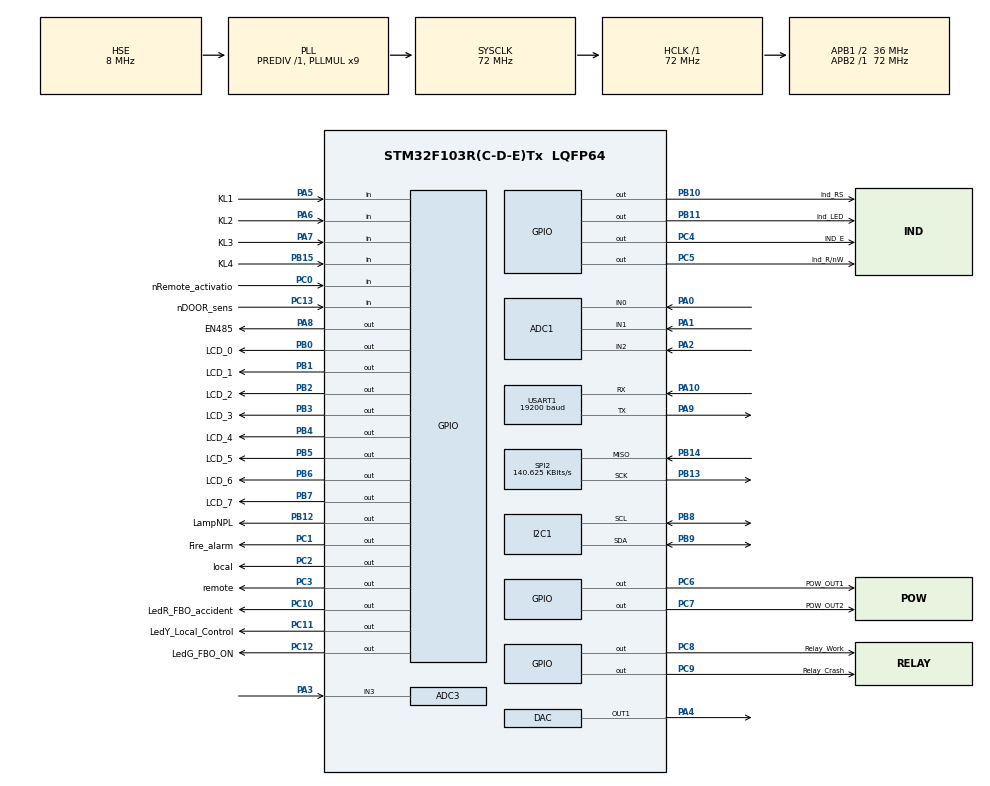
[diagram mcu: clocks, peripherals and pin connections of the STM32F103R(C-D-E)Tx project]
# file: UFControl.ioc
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ADC1.Channel-0\#ChannelRegularConversion=ADC_CHANNEL_2
ADC1.Channel-1\#ChannelRegularConversion=ADC_CHANNEL_1
ADC1.ContinuousConvMode=DISABLE
ADC1.ExternalTrigConv=ADC_EXTERNALTRIGCONV_T8_TRGO
ADC1.NbrOfConversion=2
ADC1.NbrOfConversionFlag=1
ADC1.Rank-0\#ChannelRegularConversion=1
ADC1.Rank-1\#ChannelRegularConversion=2
ADC1.SamplingTime-0\#ChannelRegularConversion=ADC_SAMPLETIME_239CYCLES_5
ADC1.SamplingTime-1\#ChannelRegularConversion=ADC_SAMPLETIME_239CYCLES_5
ADC1.master=1
ADC3.Channel-0\#ChannelRegularConversion=ADC_CHANNEL_3
ADC3.ContinuousConvMode=ENABLE
ADC3.EnableAnalogWatchDog=false
ADC3.NbrOfConversion=1
ADC3.NbrOfConversionFlag=1
ADC3.Rank-0\#ChannelRegularConversion=1
ADC3.SamplingTime-0\#ChannelRegularConversion=ADC_SAMPLETIME_28CYCLES_5
DAC.DAC_Trigger=DAC_TRIGGER_NONE
Dma.ADC1.2.Direction=DMA_PERIPH_TO_MEMORY
Dma.ADC1.2.Instance=DMA1_Channel1
Dma.ADC1.2.MemDataAlignment=DMA_MDATAALIGN_HALFWORD
Dma.ADC1.2.MemInc=DMA_MINC_ENABLE
Dma.ADC1.2.Mode=DMA_NORMAL
Dma.ADC1.2.PeriphDataAlignment=DMA_PDATAALIGN_HALFWORD
Dma.ADC1.2.PeriphInc=DMA_PINC_DISABLE
Dma.ADC1.2.Priority=DMA_PRIORITY_LOW
Dma.ADC3.1.Direction=DMA_PERIPH_TO_MEMORY
Dma.ADC3.1.Instance=DMA2_Channel5
Dma.ADC3.1.MemDataAlignment=DMA_MDATAALIGN_HALFWORD
Dma.ADC3.1.MemInc=DMA_MINC_ENABLE
Dma.ADC3.1.Mode=DMA_NORMAL
Dma.ADC3.1.PeriphDataAlignment=DMA_PDATAALIGN_HALFWORD
Dma.ADC3.1.PeriphInc=DMA_PINC_DISABLE
Dma.ADC3.1.Priority=DMA_PRIORITY_LOW
Dma.Request0=SPI2_RX
Dma.Request1=ADC3
Dma.Request2=ADC1
Dma.SPI2_RX.0.Direction=DMA_PERIPH_TO_MEMORY
Dma.SPI2_RX.0.Instance=DMA1_Channel4
Dma.SPI2_RX.0.MemDataAlignment=DMA_MDATAALIGN_BYTE
Dma.SPI2_RX.0.MemInc=DMA_MINC_ENABLE
Dma.SPI2_RX.0.Mode=DMA_NORMAL
Dma.SPI2_RX.0.PeriphDataAlignment=DMA_PDATAALIGN_BYTE
Dma.SPI2_RX.0.PeriphInc=DMA_PINC_DISABLE
Dma.SPI2_RX.0.Priority=DMA_PRIORITY_LOW
FREERTOS.Events01=TimersEvent,Static,TimersEventControlBlock;DIN_DOUT_EVENT,Static,DIN_DOUT_EVENTControlBlock;xOSEvent,Static,myEvent03ControlBlock;xUARTEvnet,Static,myEvent04ControlBlock;SystemUpdateEvent,Static,SystemUpdateEventControlBlock
FREERTOS.Tasks01=defaultTask,24,128,StartDefaultTask,Default,NULL,Dynamic,NULL,NULL;LCD,32,128,LCD_Task,As external,NULL,Static,LCDBuffer,LCDControlBlock;DIN_DOUT_Task,8,128,StartDIN_DOUT,As external,NULL,Static,DIN_DOUT_TaskBuffer,DIN_DOUT_TaskControlBlock;KeyboardTask,8,128,vKeyboardTask,As external,NULL,Static,KeyboardTaskBuffer,KeyboardTaskControlBlock;LAP_task,8,128,LAMPstart,As external,NULL,Static,LAP_taskBuffer,LAP_taskControlBlock;mbTask,8,200,StartMb,As external,NULL,Static,mbTaskBuffer,mbTaskControlBlock;ControlTask,16,128,StartControlTask,As external,NULL,Static,mainControlTaskBuffer,mainControlTaskControlBlock;UARTTask,8,200,StartUARTTask,As external,NULL,Static,UARTTaskBuffer,UARTTaskControlBlock;MenuTask,24,256,StartMenuTask,As external,NULL,Static,MenuTaskBuffer,MenuTaskControlBlock
FREERTOS.configUSE_NEWLIB_REENTRANT=1
I2C1.I2C_Mode=I2C_Fast
IWDG.Prescaler=IWDG_PRESCALER_64
Mcu.Family=STM32F1
Mcu.Name=STM32F103R(C-D-E)Tx
Mcu.Package=LQFP64
NVIC.DMA1_Channel1_IRQn=true\:5\:0\:false\:false\:true\:true\:false\:true\:true
NVIC.DMA1_Channel4_IRQn=true\:5\:0\:false\:false\:true\:true\:false\:true\:true
NVIC.DMA2_Channel4_5_IRQn=true\:5\:0\:false\:false\:true\:true\:false\:true\:true
NVIC.PriorityGroup=NVIC_PRIORITYGROUP_4
NVIC.RTC_IRQn=true\:5\:0\:false\:false\:true\:true\:true\:true\:true
NVIC.TIM1_UP_IRQn=true\:15\:0\:false\:false\:true\:false\:false\:true\:true
NVIC.TIM2_IRQn=true\:5\:0\:false\:false\:true\:true\:true\:true\:true
NVIC.TIM7_IRQn=true\:5\:0\:false\:false\:true\:true\:true\:true\:true
NVIC.TimeBase=TIM1_UP_IRQn
NVIC.TimeBaseIP=TIM1
NVIC.USART1_IRQn=true\:5\:0\:false\:false\:true\:true\:true\:true\:true
PA0-WKUP.Signal=ADCx_IN0
PA1.Signal=ADCx_IN1
PA10.Mode=Asynchronous
PA10.Signal=USART1_RX
PA13.Mode=Serial_Wire
PA13.Signal=SYS_JTMS-SWDIO
PA14.Mode=Serial_Wire
PA14.Signal=SYS_JTCK-SWCLK
PA2.Signal=ADCx_IN2
PA3.Signal=ADCx_IN3
PA4.Signal=COMP_DAC1_group
PA5.GPIO_Label=KL1
PA5.Signal=GPIO_Input
PA6.GPIO_Label=KL2
PA6.Signal=GPIO_Input
PA7.GPIO_Label=KL3
PA7.Signal=GPIO_Input
PA8.GPIO_Label=EN485
PA8.Signal=GPIO_Output
PA9.Mode=Asynchronous
PA9.Signal=USART1_TX
PB0.GPIO_Label=LCD_0
PB0.Signal=GPIO_Output
PB1.GPIO_Label=LCD_1
PB1.Signal=GPIO_Output
PB10.GPIO_Label=Ind_RS
PB10.Signal=GPIO_Output
PB11.GPIO_Label=Ind_LED
PB11.Signal=GPIO_Output
PB12.GPIO_Label=LampNPL
PB12.Signal=GPIO_Output
PB13.Mode=RX_Only_Simplex_Unidirect_Master
PB13.Signal=SPI2_SCK
PB14.Mode=RX_Only_Simplex_Unidirect_Master
PB14.Signal=SPI2_MISO
PB15.GPIO_Label=KL4
PB15.Signal=GPIO_Input
PB2.GPIO_Label=LCD_2
PB2.Signal=GPIO_Output
PB3.GPIO_Label=LCD_3
PB3.Signal=GPIO_Output
PB4.GPIO_Label=LCD_4
PB4.Signal=GPIO_Output
PB5.GPIO_Label=LCD_5
PB5.Signal=GPIO_Output
PB6.GPIO_Label=LCD_6
PB6.Signal=GPIO_Output
PB7.GPIO_Label=LCD_7
PB7.Signal=GPIO_Output
PB8.Mode=I2C
PB8.Signal=I2C1_SCL
PB9.Mode=I2C
PB9.Signal=I2C1_SDA
PC0.GPIO_Label=nRemote_activatio
PC0.Signal=GPIO_Input
PC1.GPIO_Label=Fire_alarm
PC1.Signal=GPIO_Output
PC10.GPIO_Label=LedR_FBO_accident
PC10.Signal=GPIO_Output
PC11.GPIO_Label=LedY_Local_Control
PC11.Signal=GPIO_Output
PC12.GPIO_Label=LedG_FBO_ON
PC12.Signal=GPIO_Output
PC13-TAMPER-RTC.GPIO_Label=nDOOR_sens
PC13-TAMPER-RTC.Signal=GPIO_Input
PC14-OSC32_IN.Mode=LSE-External-Oscillator
PC14-OSC32_IN.Signal=RCC_OSC32_IN
PC15-OSC32_OUT.Mode=LSE-External-Oscillator
PC15-OSC32_OUT.Signal=RCC_OSC32_OUT
PC2.GPIO_Label=local
PC2.Signal=GPIO_Output
PC3.GPIO_Label=remote
PC3.Signal=GPIO_Output
PC4.GPIO_Label=IND_E
PC4.Signal=GPIO_Output
PC5.GPIO_Label=Ind_R/nW
PC5.Signal=GPIO_Output
PC6.GPIO_Label=POW_OUT1
PC6.Signal=GPIO_Output
PC7.GPIO_Label=POW_OUT2
PC7.Signal=GPIO_Output
PC8.GPIO_Label=Relay_Work
PC8.Signal=GPIO_Output
PC9.GPIO_Label=Relay_Crash
PC9.Signal=GPIO_Output
PD0-OSC_IN.Mode=HSE-External-Oscillator
PD0-OSC_IN.Signal=RCC_OSC_IN
PD1-OSC_OUT.Mode=HSE-External-Oscillator
PD1-OSC_OUT.Signal=RCC_OSC_OUT
ProjectManager.HeapSize=0x200
ProjectManager.StackSize=0x400
ProjectManager.TargetToolchain=STM32CubeIDE
RCC.ADCPresc=RCC_ADCPCLK2_DIV6
RCC.AHBFreq_Value=72000000
RCC.APB1CLKDivider=RCC_HCLK_DIV2
RCC.APB1Freq_Value=36000000
RCC.APB1TimFreq_Value=72000000
RCC.APB2Freq_Value=72000000
RCC.APB2TimFreq_Value=72000000
RCC.HCLKFreq_Value=72000000
RCC.PLLMUL=RCC_PLL_MUL9
RCC.PLLSourceVirtual=RCC_PLLSOURCE_HSE
RCC.RTCClockSelection=RCC_RTCCLKSOURCE_LSE
RCC.SYSCLKFreq_VALUE=72000000
RCC.SYSCLKSource=RCC_SYSCLKSOURCE_PLLCLK
RCC.USBFreq_Value=72000000
RTC.Format=RTC_FORMAT_BCD
RTC.OutPut=RTC_OUTPUTSOURCE_NONE
SH.ADCx_IN0.0=ADC1_IN0,IN0
SH.ADCx_IN1.0=ADC1_IN1,IN1
SH.ADCx_IN2.0=ADC1_IN2,IN2
SH.ADCx_IN3.0=ADC3_IN3,IN3
SH.COMP_DAC1_group.0=DAC_OUT1,DAC_OUT1
SPI2.BaudRatePrescaler=SPI_BAUDRATEPRESCALER_256
SPI2.CLKPhase=SPI_PHASE_1EDGE
SPI2.CLKPolarity=SPI_POLARITY_LOW
SPI2.CalculateBaudRate=140.625 KBits/s
SPI2.Direction=SPI_DIRECTION_2LINES_RXONLY
SPI2.Mode=SPI_MODE_MASTER
SPI2.VirtualType=VM_MASTER
TIM2.Period=1000
TIM2.Prescaler=3672
TIM2.TIM_MasterOutputTrigger=TIM_TRGO_UPDATE
TIM6.Period=100
TIM6.Prescaler=72
TIM7.Period=40
TIM7.Prescaler=72
TIM8.AutoReloadPreload=TIM_AUTORELOAD_PRELOAD_DISABLE
TIM8.ClockDivision=TIM_CLOCKDIVISION_DIV1
TIM8.Period=25
TIM8.Prescaler=37
TIM8.TIM_MasterOutputTrigger=TIM_TRGO_UPDATE
USART1.BaudRate=19200
USART1.Parity=PARITY_ODD
USART1.VirtualMode=VM_ASYNC
USART1.WordLength=WORDLENGTH_9B
VP_FREERTOS_VS_CMSIS_V2.Mode=CMSIS_V2
VP_IWDG_VS_IWDG.Mode=IWDG_Activate
VP_RTC_No_RTC_Output.Mode=RTC_OUT_NO
VP_RTC_VS_RTC_Activate.Mode=RTC_Enabled
VP_RTC_VS_RTC_Calendar.Mode=RTC_Calendar
VP_SYS_VS_tim1.Mode=TIM1
VP_TIM2_VS_ClockSourceINT.Mode=Internal
VP_TIM6_VS_ClockSourceINT.Mode=Enable_Timer
VP_TIM7_VS_ClockSourceINT.Mode=Enable_Timer
VP_TIM8_VS_ClockSourceINT.Mode=Internal
board=custom

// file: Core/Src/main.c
/* USER CODE BEGIN Header */
/**
  ******************************************************************************
  * @file           : main.c
  * @brief          : Main program body
  ******************************************************************************
  * @attention
  *
  * Copyright (c) 2023 STMicroelectronics.
  * All rights reserved.
  *
  * This software is licensed under terms that can be found in the LICENSE file
  * in the root directory of this software component.
  * If no LICENSE file comes with this software, it is provided AS-IS.
  *
  ******************************************************************************
  */
/* USER CODE END Header */
#include "main.h"
#include "cmsis_os.h"

typedef StaticTask_t osStaticThreadDef_t;
typedef StaticEventGroup_t osStaticEventGroupDef_t;

/* USER CODE BEGIN PD */
#define MKL_2
#define  WDT_ENABEL
/* USER CODE END PD */

ADC_HandleTypeDef hadc1;
ADC_HandleTypeDef hadc3;
DMA_HandleTypeDef hdma_adc1;
DMA_HandleTypeDef hdma_adc3;

DAC_HandleTypeDef hdac;

I2C_HandleTypeDef hi2c1;

IWDG_HandleTypeDef hiwdg;

RTC_HandleTypeDef hrtc;

SPI_HandleTypeDef hspi2;
DMA_HandleTypeDef hdma_spi2_rx;

TIM_HandleTypeDef htim2;
TIM_HandleTypeDef htim6;
TIM_HandleTypeDef htim7;
TIM_HandleTypeDef htim8;

UART_HandleTypeDef huart1;

/* Definitions for defaultTask */
osThreadId_t defaultTaskHandle;
const osThreadAttr_t defaultTask_attributes = {
  .name = "defaultTask",
  .stack_size = 128 * 4,
  .priority = (osPriority_t) osPriorityNormal,
};
/* Definitions for LCD */
osThreadId_t LCDHandle;
uint32_t LCDBuffer[ 128 ];
osStaticThreadDef_t LCDControlBlock;
const osThreadAttr_t LCD_attributes = {
  .name = "LCD",
  .cb_mem = &LCDControlBlock,
  .cb_size = sizeof(LCDControlBlock),
  .stack_mem = &LCDBuffer[0],
  .stack_size = sizeof(LCDBuffer),
  .priority = (osPriority_t) osPriorityAboveNormal,
};
/* Definitions for DIN_DOUT_Task */
osThreadId_t DIN_DOUT_TaskHandle;
uint32_t DIN_DOUT_TaskBuffer[ 128 ];
osStaticThreadDef_t DIN_DOUT_TaskControlBlock;
const osThreadAttr_t DIN_DOUT_Task_attributes = {
  .name = "DIN_DOUT_Task",
  .cb_mem = &DIN_DOUT_TaskControlBlock,
  .cb_size = sizeof(DIN_DOUT_TaskControlBlock),
  .stack_mem = &DIN_DOUT_TaskBuffer[0],
  .stack_size = sizeof(DIN_DOUT_TaskBuffer),
  .priority = (osPriority_t) osPriorityLow,
};
/* Definitions for KeyboardTask */
osThreadId_t KeyboardTaskHandle;
uint32_t KeyboardTaskBuffer[ 128 ];
osStaticThreadDef_t KeyboardTaskControlBlock;
const osThreadAttr_t KeyboardTask_attributes = {
  .name = "KeyboardTask",
  .cb_mem = &KeyboardTaskControlBlock,
  .cb_size = sizeof(KeyboardTaskControlBlock),
  .stack_mem = &KeyboardTaskBuffer[0],
  .stack_size = sizeof(KeyboardTaskBuffer),
  .priority = (osPriority_t) osPriorityLow,
};
/* Definitions for LAP_task */
osThreadId_t LAP_taskHandle;
uint32_t LAP_taskBuffer[ 128 ];
osStaticThreadDef_t LAP_taskControlBlock;
const osThreadAttr_t LAP_task_attributes = {
  .name = "LAP_task",
  .cb_mem = &LAP_taskControlBlock,
  .cb_size = sizeof(LAP_taskControlBlock),
  .stack_mem = &LAP_taskBuffer[0],
  .stack_size = sizeof(LAP_taskBuffer),
  .priority = (osPriority_t) osPriorityLow,
};
/* Definitions for mbTask */
osThreadId_t mbTaskHandle;
uint32_t mbTaskBuffer[ 200 ];
osStaticThreadDef_t mbTaskControlBlock;
const osThreadAttr_t mbTask_attributes = {
  .name = "mbTask",
  .cb_mem = &mbTaskControlBlock,
  .cb_size = sizeof(mbTaskControlBlock),
  .stack_mem = &mbTaskBuffer[0],
  .stack_size = sizeof(mbTaskBuffer),
  .priority = (osPriority_t) osPriorityLow,
};
/* Definitions for ControlTask */
osThreadId_t ControlTaskHandle;
uint32_t mainControlTaskBuffer[ 128 ];
osStaticThreadDef_t mainControlTaskControlBlock;
const osThreadAttr_t ControlTask_attributes = {
  .name = "ControlTask",
  .cb_mem = &mainControlTaskControlBlock,
  .cb_size = sizeof(mainControlTaskControlBlock),
  .stack_mem = &mainControlTaskBuffer[0],
  .stack_size = sizeof(mainControlTaskBuffer),
  .priority = (osPriority_t) osPriorityBelowNormal,
};
/* Definitions for UARTTask */
osThreadId_t UARTTaskHandle;
uint32_t UARTTaskBuffer[ 200 ];
osStaticThreadDef_t UARTTaskControlBlock;
const osThreadAttr_t UARTTask_attributes = {
  .name = "UARTTask",
  .cb_mem = &UARTTaskControlBlock,
  .cb_size = sizeof(UARTTaskControlBlock),
  .stack_mem = &UARTTaskBuffer[0],
  .stack_size = sizeof(UARTTaskBuffer),
  .priority = (osPriority_t) osPriorityLow,
};
/* Definitions for MenuTask */
osThreadId_t MenuTaskHandle;
uint32_t MenuTaskBuffer[ 256 ];
osStaticThreadDef_t MenuTaskControlBlock;
const osThreadAttr_t MenuTask_attributes = {
  .name = "MenuTask",
  .cb_mem = &MenuTaskControlBlock,
  .cb_size = sizeof(MenuTaskControlBlock),
  .stack_mem = &MenuTaskBuffer[0],
  .stack_size = sizeof(MenuTaskBuffer),
  .priority = (osPriority_t) osPriorityNormal,
};
/* Definitions for TimersEvent */
osEventFlagsId_t TimersEventHandle;
osStaticEventGroupDef_t TimersEventControlBlock;
const osEventFlagsAttr_t TimersEvent_attributes = {
  .name = "TimersEvent",
  .cb_mem = &TimersEventControlBlock,
  .cb_size = sizeof(TimersEventControlBlock),
};
/* Definitions for DIN_DOUT_EVENT */
osEventFlagsId_t DIN_DOUT_EVENTHandle;
osStaticEventGroupDef_t DIN_DOUT_EVENTControlBlock;
const osEventFlagsAttr_t DIN_DOUT_EVENT_attributes = {
  .name = "DIN_DOUT_EVENT",
  .cb_mem = &DIN_DOUT_EVENTControlBlock,
  .cb_size = sizeof(DIN_DOUT_EVENTControlBlock),
};
/* Definitions for xOSEvent */
osEventFlagsId_t xOSEventHandle;
osStaticEventGroupDef_t myEvent03ControlBlock;
const osEventFlagsAttr_t xOSEvent_attributes = {
  .name = "xOSEvent",
  .cb_mem = &myEvent03ControlBlock,
  .cb_size = sizeof(myEvent03ControlBlock),
};
/* Definitions for xUARTEvnet */
osEventFlagsId_t xUARTEvnetHandle;
osStaticEventGroupDef_t myEvent04ControlBlock;
const osEventFlagsAttr_t xUARTEvnet_attributes = {
  .name = "xUARTEvnet",
  .cb_mem = &myEvent04ControlBlock,
  .cb_size = sizeof(myEvent04ControlBlock),
};
/* Definitions for SystemUpdateEvent */
osEventFlagsId_t SystemUpdateEventHandle;
osStaticEventGroupDef_t SystemUpdateEventControlBlock;
const osEventFlagsAttr_t SystemUpdateEvent_attributes = {
  .name = "SystemUpdateEvent",
  .cb_mem = &SystemUpdateEventControlBlock,
  .cb_size = sizeof(SystemUpdateEventControlBlock),
};

void SystemClock_Config(void);
static void MX_GPIO_Init(void);
static void MX_DMA_Init(void);
static void MX_TIM7_Init(void);
static void MX_RTC_Init(void);
static void MX_ADC1_Init(void);
static void MX_I2C1_Init(void);
static void MX_SPI2_Init(void);
static void MX_USART1_UART_Init(void);
static void MX_ADC3_Init(void);
static void MX_TIM6_Init(void);
static void MX_TIM2_Init(void);
static void MX_TIM8_Init(void);
static void MX_IWDG_Init(void);
static void MX_DAC_Init(void);
void StartDefaultTask(void *argument);
extern void LCD_Task(void *argument);
extern void StartDIN_DOUT(void *argument);
extern void vKeyboardTask(void *argument);
extern void LAMPstart(void *argument);
extern void StartMb(void *argument);
extern void StartControlTask(void *argument);
extern void StartUARTTask(void *argument);
extern void StartMenuTask(void *argument);

/* USER CODE BEGIN 0 */
EventGroupHandle_t xGetOSEvent()
{
	return (xOSEventHandle);
}
 EventGroupHandle_t xGetUARTEvent()
 {
	 return (xUARTEvnetHandle);
 }
 EventGroupHandle_t xGetSystemUpdateEvent()
 {
	 return (SystemUpdateEventHandle);
 }
 /*osSemaphoreId_t xGetSystemSem()
 {
 return (mbSemHandle);
 }*/

 void vTimerInit(uint16_t timeout)
 {
 	htim2.Init.Period = timeout;
     if (HAL_TIM_Base_Init(&htim2) != HAL_OK)
 	{
 	  Error_Handler();
 	}

 }
 void vStartTimer()
 {
 	HAL_TIM_Base_Stop_IT(&htim2);
 	htim2.Instance->CNT=0;
 	HAL_TIM_Base_Start_IT(&htim2);
 }
 void vStopTimer()
 {
 	HAL_TIM_Base_Stop_IT(&htim2);
 }
/* USER CODE END 0 */

 uint8_t TestData[100];

 uint16_t TestFucn()
 {
	 uint16_t data;

	 for (uint8_t i = 0; i <10; i++ )
	 {
		 data = * (( uint16_t *)&TestData[i]);

	 }
	return (data);

 }

int main(void)
{

  /* MCU Configuration--------------------------------------------------------*/

  /* Reset of all peripherals, Initializes the Flash interface and the Systick. */
  HAL_Init();

  /* Configure the system clock */
  SystemClock_Config();
  TestFucn();
  /* USER CODE BEGIN SysInit */
  MX_DMA_Init();
  /* USER CODE END SysInit */

  /* Initialize all configured peripherals */
  MX_GPIO_Init();
  MX_DMA_Init();
  MX_TIM7_Init();
  MX_RTC_Init();
  MX_ADC1_Init();
  MX_I2C1_Init();
  MX_SPI2_Init();
  MX_USART1_UART_Init();
  MX_ADC3_Init();
  MX_TIM6_Init();
  MX_TIM2_Init();
  MX_TIM8_Init();
  MX_IWDG_Init();
  MX_DAC_Init();
  /* USER CODE BEGIN 2 */
  eEEPROM(&hi2c1);
  /* USER CODE END 2 */

  /* Init scheduler */
  osKernelInitialize();

  /* Create the thread(s) */
  /* creation of defaultTask */
  defaultTaskHandle = osThreadNew(StartDefaultTask, NULL, &defaultTask_attributes);

  /* creation of LCD */
  LCDHandle = osThreadNew(LCD_Task, NULL, &LCD_attributes);

  /* creation of DIN_DOUT_Task */
  DIN_DOUT_TaskHandle = osThreadNew(StartDIN_DOUT, NULL, &DIN_DOUT_Task_attributes);

  /* creation of KeyboardTask */
  KeyboardTaskHandle = osThreadNew(vKeyboardTask, NULL, &KeyboardTask_attributes);

  /* creation of LAP_task */
  LAP_taskHandle = osThreadNew(LAMPstart, NULL, &LAP_task_attributes);

  /* creation of mbTask */
  mbTaskHandle = osThreadNew(StartMb, NULL, &mbTask_attributes);

  /* creation of ControlTask */
  ControlTaskHandle = osThreadNew(StartControlTask, NULL, &ControlTask_attributes);

  /* creation of UARTTask */
  UARTTaskHandle = osThreadNew(StartUARTTask, NULL, &UARTTask_attributes);

  /* creation of MenuTask */
  MenuTaskHandle = osThreadNew(StartMenuTask, NULL, &MenuTask_attributes);

  /* Create the event(s) */
  /* creation of TimersEvent */
  TimersEventHandle = osEventFlagsNew(&TimersEvent_attributes);

  /* creation of DIN_DOUT_EVENT */
  DIN_DOUT_EVENTHandle = osEventFlagsNew(&DIN_DOUT_EVENT_attributes);

  /* creation of xOSEvent */
  xOSEventHandle = osEventFlagsNew(&xOSEvent_attributes);

  /* creation of xUARTEvnet */
  xUARTEvnetHandle = osEventFlagsNew(&xUARTEvnet_attributes);

  /* creation of SystemUpdateEvent */
  SystemUpdateEventHandle = osEventFlagsNew(&SystemUpdateEvent_attributes);

  /* USER CODE BEGIN RTOS_EVENTS */
 // vSetTimersEnvet( TimersEventHandle);
  /* add events, ... */
  /* USER CODE END RTOS_EVENTS */

  /* Start scheduler */
  osKernelStart();

  /* We should never get here as control is now taken by the scheduler */

  /* Infinite loop */
  while (1)
  {

  }
}

void SystemClock_Config(void)
{
  RCC_OscInitTypeDef RCC_OscInitStruct = {0};
  RCC_ClkInitTypeDef RCC_ClkInitStruct = {0};
  RCC_PeriphCLKInitTypeDef PeriphClkInit = {0};

  /** Initializes the RCC Oscillators according to the specified parameters
  * in the RCC_OscInitTypeDef structure.
  */
  RCC_OscInitStruct.OscillatorType = RCC_OSCILLATORTYPE_LSI|RCC_OSCILLATORTYPE_HSE
                              |RCC_OSCILLATORTYPE_LSE;
  RCC_OscInitStruct.HSEState = RCC_HSE_ON;
  RCC_OscInitStruct.HSEPredivValue = RCC_HSE_PREDIV_DIV1;
  RCC_OscInitStruct.LSEState = RCC_LSE_ON;
  RCC_OscInitStruct.HSIState = RCC_HSI_ON;
  RCC_OscInitStruct.LSIState = RCC_LSI_ON;
  RCC_OscInitStruct.PLL.PLLState = RCC_PLL_ON;
  RCC_OscInitStruct.PLL.PLLSource = RCC_PLLSOURCE_HSE;
  RCC_OscInitStruct.PLL.PLLMUL = RCC_PLL_MUL9;
  if (HAL_RCC_OscConfig(&RCC_OscInitStruct) != HAL_OK)
  {
    Error_Handler();
  }

  /** Initializes the CPU, AHB and APB buses clocks
  */
  RCC_ClkInitStruct.ClockType = RCC_CLOCKTYPE_HCLK|RCC_CLOCKTYPE_SYSCLK
                              |RCC_CLOCKTYPE_PCLK1|RCC_CLOCKTYPE_PCLK2;
  RCC_ClkInitStruct.SYSCLKSource = RCC_SYSCLKSOURCE_PLLCLK;
  RCC_ClkInitStruct.AHBCLKDivider = RCC_SYSCLK_DIV1;
  RCC_ClkInitStruct.APB1CLKDivider = RCC_HCLK_DIV2;
  RCC_ClkInitStruct.APB2CLKDivider = RCC_HCLK_DIV1;

  if (HAL_RCC_ClockConfig(&RCC_ClkInitStruct, FLASH_LATENCY_2) != HAL_OK)
  {
    Error_Handler();
  }
  PeriphClkInit.PeriphClockSelection = RCC_PERIPHCLK_RTC|RCC_PERIPHCLK_ADC;
  PeriphClkInit.RTCClockSelection = RCC_RTCCLKSOURCE_LSE;
  PeriphClkInit.AdcClockSelection = RCC_ADCPCLK2_DIV6;
  if (HAL_RCCEx_PeriphCLKConfig(&PeriphClkInit) != HAL_OK)
  {
    Error_Handler();
  }
}

static void MX_ADC1_Init(void)
{

  ADC_ChannelConfTypeDef sConfig = {0};

  /** Common config
  */
  hadc1.Instance = ADC1;
  hadc1.Init.ScanConvMode = ADC_SCAN_ENABLE;
  hadc1.Init.ContinuousConvMode = DISABLE;
  hadc1.Init.DiscontinuousConvMode = DISABLE;
  hadc1.Init.ExternalTrigConv = ADC_EXTERNALTRIGCONV_T8_TRGO;
  hadc1.Init.DataAlign = ADC_DATAALIGN_RIGHT;
  hadc1.Init.NbrOfConversion = 2;
  if (HAL_ADC_Init(&hadc1) != HAL_OK)
  {
    Error_Handler();
  }

  /** Enable or disable the remapping of ADC1_ETRGREG:
  * ADC1 External Event regular conversion is connected to TIM8 TRG0
  */
  __HAL_AFIO_REMAP_ADC1_ETRGREG_ENABLE();

  /** Configure Regular Channel
  */
  sConfig.Channel = ADC_CHANNEL_2;
  sConfig.Rank = ADC_REGULAR_RANK_1;
  sConfig.SamplingTime = ADC_SAMPLETIME_239CYCLES_5;
  if (HAL_ADC_ConfigChannel(&hadc1, &sConfig) != HAL_OK)
  {
    Error_Handler();
  }

  /** Configure Regular Channel
  */
  sConfig.Channel = ADC_CHANNEL_1;
  sConfig.Rank = ADC_REGULAR_RANK_2;
  if (HAL_ADC_ConfigChannel(&hadc1, &sConfig) != HAL_OK)
  {
    Error_Handler();
  }

}

static void MX_ADC3_Init(void)
{

  ADC_ChannelConfTypeDef sConfig = {0};

  /** Common config
  */
  hadc3.Instance = ADC3;
  hadc3.Init.ScanConvMode = ADC_SCAN_DISABLE;
  hadc3.Init.ContinuousConvMode = ENABLE;
  hadc3.Init.DiscontinuousConvMode = DISABLE;
  hadc3.Init.ExternalTrigConv = ADC_SOFTWARE_START;
  hadc3.Init.DataAlign = ADC_DATAALIGN_RIGHT;
  hadc3.Init.NbrOfConversion = 1;
  if (HAL_ADC_Init(&hadc3) != HAL_OK)
  {
    Error_Handler();
  }

  /** Configure Regular Channel
  */
  sConfig.Channel = ADC_CHANNEL_3;
  sConfig.Rank = ADC_REGULAR_RANK_1;
  sConfig.SamplingTime = ADC_SAMPLETIME_28CYCLES_5;
  if (HAL_ADC_ConfigChannel(&hadc3, &sConfig) != HAL_OK)
  {
    Error_Handler();
  }

}

static void MX_DAC_Init(void)
{

  DAC_ChannelConfTypeDef sConfig = {0};

  /** DAC Initialization
  */
  hdac.Instance = DAC;
  if (HAL_DAC_Init(&hdac) != HAL_OK)
  {
    Error_Handler();
  }

  /** DAC channel OUT1 config
  */
  sConfig.DAC_Trigger = DAC_TRIGGER_NONE;
  sConfig.DAC_OutputBuffer = DAC_OUTPUTBUFFER_ENABLE;
  if (HAL_DAC_ConfigChannel(&hdac, &sConfig, DAC_CHANNEL_1) != HAL_OK)
  {
    Error_Handler();
  }

}

static void MX_I2C1_Init(void)
{

  hi2c1.Instance = I2C1;
  hi2c1.Init.ClockSpeed = 400000;
  hi2c1.Init.DutyCycle = I2C_DUTYCYCLE_2;
  hi2c1.Init.OwnAddress1 = 0;
  hi2c1.Init.AddressingMode = I2C_ADDRESSINGMODE_7BIT;
  hi2c1.Init.DualAddressMode = I2C_DUALADDRESS_DISABLE;
  hi2c1.Init.OwnAddress2 = 0;
  hi2c1.Init.GeneralCallMode = I2C_GENERALCALL_DISABLE;
  hi2c1.Init.NoStretchMode = I2C_NOSTRETCH_DISABLE;
  if (HAL_I2C_Init(&hi2c1) != HAL_OK)
  {
    Error_Handler();
  }

}

static void MX_IWDG_Init(void)
{

  hiwdg.Instance = IWDG;
  hiwdg.Init.Prescaler = IWDG_PRESCALER_64;
  hiwdg.Init.Reload = 4095;
  if (HAL_IWDG_Init(&hiwdg) != HAL_OK)
  {
    Error_Handler();
  }

}

static void MX_RTC_Init(void)
{

  RTC_TimeTypeDef sTime = {0};
  RTC_DateTypeDef DateToUpdate = {0};

  /** Initialize RTC Only
  */
  hrtc.Instance = RTC;
  hrtc.Init.AsynchPrediv = RTC_AUTO_1_SECOND;
  hrtc.Init.OutPut = RTC_OUTPUTSOURCE_NONE;
  if (HAL_RTC_Init(&hrtc) != HAL_OK)
  {
    Error_Handler();
  }

  /** Initialize RTC and set the Time and Date
  */

}

static void MX_SPI2_Init(void)
{

  /* SPI2 parameter configuration*/
  hspi2.Instance = SPI2;
  hspi2.Init.Mode = SPI_MODE_MASTER;
  hspi2.Init.Direction = SPI_DIRECTION_2LINES_RXONLY;
  hspi2.Init.DataSize = SPI_DATASIZE_8BIT;
  hspi2.Init.CLKPolarity = SPI_POLARITY_LOW;
  hspi2.Init.CLKPhase = SPI_PHASE_1EDGE;
  hspi2.Init.NSS = SPI_NSS_SOFT;
  hspi2.Init.BaudRatePrescaler = SPI_BAUDRATEPRESCALER_256;
  hspi2.Init.FirstBit = SPI_FIRSTBIT_MSB;
  hspi2.Init.TIMode = SPI_TIMODE_DISABLE;
  hspi2.Init.CRCCalculation = SPI_CRCCALCULATION_DISABLE;
  hspi2.Init.CRCPolynomial = 10;
  if (HAL_SPI_Init(&hspi2) != HAL_OK)
  {
    Error_Handler();
  }

}

static void MX_TIM2_Init(void)
{

  TIM_ClockConfigTypeDef sClockSourceConfig = {0};
  TIM_MasterConfigTypeDef sMasterConfig = {0};

  htim2.Instance = TIM2;
  htim2.Init.Prescaler = 3672;
  htim2.Init.CounterMode = TIM_COUNTERMODE_UP;
  htim2.Init.Period = 1000;
  htim2.Init.ClockDivision = TIM_CLOCKDIVISION_DIV1;
  htim2.Init.AutoReloadPreload = TIM_AUTORELOAD_PRELOAD_DISABLE;
  if (HAL_TIM_Base_Init(&htim2) != HAL_OK)
  {
    Error_Handler();
  }
  sClockSourceConfig.ClockSource = TIM_CLOCKSOURCE_INTERNAL;
  if (HAL_TIM_ConfigClockSource(&htim2, &sClockSourceConfig) != HAL_OK)
  {
    Error_Handler();
  }
  sMasterConfig.MasterOutputTrigger = TIM_TRGO_UPDATE;
  sMasterConfig.MasterSlaveMode = TIM_MASTERSLAVEMODE_DISABLE;
  if (HAL_TIMEx_MasterConfigSynchronization(&htim2, &sMasterConfig) != HAL_OK)
  {
    Error_Handler();
  }

}

static void MX_TIM6_Init(void)
{

  TIM_MasterConfigTypeDef sMasterConfig = {0};

  htim6.Instance = TIM6;
  htim6.Init.Prescaler = 72;
  htim6.Init.CounterMode = TIM_COUNTERMODE_UP;
  htim6.Init.Period = 100;
  htim6.Init.AutoReloadPreload = TIM_AUTORELOAD_PRELOAD_DISABLE;
  if (HAL_TIM_Base_Init(&htim6) != HAL_OK)
  {
    Error_Handler();
  }
  sMasterConfig.MasterOutputTrigger = TIM_TRGO_RESET;
  sMasterConfig.MasterSlaveMode = TIM_MASTERSLAVEMODE_DISABLE;
  if (HAL_TIMEx_MasterConfigSynchronization(&htim6, &sMasterConfig) != HAL_OK)
  {
    Error_Handler();
  }

}

static void MX_TIM7_Init(void)
{

  TIM_MasterConfigTypeDef sMasterConfig = {0};

  htim7.Instance = TIM7;
  htim7.Init.Prescaler = 72;
  htim7.Init.CounterMode = TIM_COUNTERMODE_UP;
  htim7.Init.Period = 40;
  htim7.Init.AutoReloadPreload = TIM_AUTORELOAD_PRELOAD_DISABLE;
  if (HAL_TIM_Base_Init(&htim7) != HAL_OK)
  {
    Error_Handler();
  }
  sMasterConfig.MasterOutputTrigger = TIM_TRGO_RESET;
  sMasterConfig.MasterSlaveMode = TIM_MASTERSLAVEMODE_DISABLE;
  if (HAL_TIMEx_MasterConfigSynchronization(&htim7, &sMasterConfig) != HAL_OK)
  {
    Error_Handler();
  }

}

static void MX_TIM8_Init(void)
{

  TIM_ClockConfigTypeDef sClockSourceConfig = {0};
  TIM_MasterConfigTypeDef sMasterConfig = {0};

  htim8.Instance = TIM8;
  htim8.Init.Prescaler = 37;
  htim8.Init.CounterMode = TIM_COUNTERMODE_UP;
  htim8.Init.Period = 25;
  htim8.Init.ClockDivision = TIM_CLOCKDIVISION_DIV1;
  htim8.Init.RepetitionCounter = 0;
  htim8.Init.AutoReloadPreload = TIM_AUTORELOAD_PRELOAD_DISABLE;
  if (HAL_TIM_Base_Init(&htim8) != HAL_OK)
  {
    Error_Handler();
  }
  sClockSourceConfig.ClockSource = TIM_CLOCKSOURCE_INTERNAL;
  if (HAL_TIM_ConfigClockSource(&htim8, &sClockSourceConfig) != HAL_OK)
  {
    Error_Handler();
  }
  sMasterConfig.MasterOutputTrigger = TIM_TRGO_UPDATE;
  sMasterConfig.MasterSlaveMode = TIM_MASTERSLAVEMODE_DISABLE;
  if (HAL_TIMEx_MasterConfigSynchronization(&htim8, &sMasterConfig) != HAL_OK)
  {
    Error_Handler();
  }

}

static void MX_USART1_UART_Init(void)
{

  huart1.Instance = USART1;
  huart1.Init.BaudRate = 19200;
  huart1.Init.WordLength = UART_WORDLENGTH_9B;
  huart1.Init.StopBits = UART_STOPBITS_1;
  huart1.Init.Parity = UART_PARITY_ODD;
  huart1.Init.Mode = UART_MODE_TX_RX;
  huart1.Init.HwFlowCtl = UART_HWCONTROL_NONE;
  huart1.Init.OverSampling = UART_OVERSAMPLING_16;
  if (HAL_UART_Init(&huart1) != HAL_OK)
  {
    Error_Handler();
  }

}

static void MX_DMA_Init(void)
{

  /* DMA controller clock enable */
  __HAL_RCC_DMA1_CLK_ENABLE();
  __HAL_RCC_DMA2_CLK_ENABLE();

  /* DMA interrupt init */
  /* DMA1_Channel1_IRQn interrupt configuration */
  HAL_NVIC_SetPriority(DMA1_Channel1_IRQn, 5, 0);
  HAL_NVIC_EnableIRQ(DMA1_Channel1_IRQn);
  /* DMA1_Channel4_IRQn interrupt configuration */
  HAL_NVIC_SetPriority(DMA1_Channel4_IRQn, 5, 0);
  HAL_NVIC_EnableIRQ(DMA1_Channel4_IRQn);
  /* DMA2_Channel4_5_IRQn interrupt configuration */
  HAL_NVIC_SetPriority(DMA2_Channel4_5_IRQn, 5, 0);
  HAL_NVIC_EnableIRQ(DMA2_Channel4_5_IRQn);

}

static void MX_GPIO_Init(void)
{
  GPIO_InitTypeDef GPIO_InitStruct = {0};

  /* GPIO Ports Clock Enable */
  __HAL_RCC_GPIOC_CLK_ENABLE();
  __HAL_RCC_GPIOD_CLK_ENABLE();
  __HAL_RCC_GPIOA_CLK_ENABLE();
  __HAL_RCC_GPIOB_CLK_ENABLE();

  /*Configure GPIO pin Output Level */
  HAL_GPIO_WritePin(GPIOC, Fire_alarm_Pin|local_Pin|remote_Pin|IND_E_Pin
                          |Ind_R_nW_Pin|POW_OUT1_Pin|POW_OUT2_Pin|Relay_Work_Pin
                          |Relay_Crash_Pin|LedR_FBO_accident_Pin|LedY_Local_Control_Pin|LedG_FBO_ON_Pin, GPIO_PIN_RESET);

  /*Configure GPIO pin Output Level */
  HAL_GPIO_WritePin(GPIOB, LCD_0_Pin|LCD_1_Pin|LCD_2_Pin|Ind_RS_Pin
                          |Ind_LED_Pin|LampNPL_Pin|LCD_3_Pin|LCD_4_Pin
                          |LCD_5_Pin|LCD_6_Pin|LCD_7_Pin, GPIO_PIN_RESET);

  /*Configure GPIO pin Output Level */
  HAL_GPIO_WritePin(EN485_GPIO_Port, EN485_Pin, GPIO_PIN_RESET);

  /*Configure GPIO pins : nDOOR_sens_Pin nRemote_activatio_Pin */
  GPIO_InitStruct.Pin = nDOOR_sens_Pin|nRemote_activatio_Pin;
  GPIO_InitStruct.Mode = GPIO_MODE_INPUT;
  GPIO_InitStruct.Pull = GPIO_NOPULL;
  HAL_GPIO_Init(GPIOC, &GPIO_InitStruct);

  /*Configure GPIO pins : Fire_alarm_Pin local_Pin remote_Pin IND_E_Pin
                           Ind_R_nW_Pin POW_OUT1_Pin POW_OUT2_Pin Relay_Work_Pin
                           Relay_Crash_Pin LedR_FBO_accident_Pin LedY_Local_Control_Pin LedG_FBO_ON_Pin */
  GPIO_InitStruct.Pin = Fire_alarm_Pin|local_Pin|remote_Pin|IND_E_Pin
                          |Ind_R_nW_Pin|POW_OUT1_Pin|POW_OUT2_Pin|Relay_Work_Pin
                          |Relay_Crash_Pin|LedR_FBO_accident_Pin|LedY_Local_Control_Pin|LedG_FBO_ON_Pin;
  GPIO_InitStruct.Mode = GPIO_MODE_OUTPUT_PP;
  GPIO_InitStruct.Pull = GPIO_NOPULL;
  GPIO_InitStruct.Speed = GPIO_SPEED_FREQ_LOW;
  HAL_GPIO_Init(GPIOC, &GPIO_InitStruct);

  /*Configure GPIO pins : KL1_Pin KL2_Pin KL3_Pin */
  GPIO_InitStruct.Pin = KL1_Pin|KL2_Pin|KL3_Pin;
  GPIO_InitStruct.Mode = GPIO_MODE_INPUT;
  GPIO_InitStruct.Pull = GPIO_NOPULL;
  HAL_GPIO_Init(GPIOA, &GPIO_InitStruct);

  /*Configure GPIO pins : LCD_0_Pin LCD_1_Pin LCD_2_Pin Ind_RS_Pin
                           Ind_LED_Pin LampNPL_Pin LCD_3_Pin LCD_4_Pin
                           LCD_5_Pin LCD_6_Pin LCD_7_Pin */
  GPIO_InitStruct.Pin = LCD_0_Pin|LCD_1_Pin|LCD_2_Pin|Ind_RS_Pin
                          |Ind_LED_Pin|LampNPL_Pin|LCD_3_Pin|LCD_4_Pin
                          |LCD_5_Pin|LCD_6_Pin|LCD_7_Pin;
  GPIO_InitStruct.Mode = GPIO_MODE_OUTPUT_PP;
  GPIO_InitStruct.Pull = GPIO_NOPULL;
  GPIO_InitStruct.Speed = GPIO_SPEED_FREQ_LOW;
  HAL_GPIO_Init(GPIOB, &GPIO_InitStruct);

  /*Configure GPIO pin : KL4_Pin */
  GPIO_InitStruct.Pin = KL4_Pin;
  GPIO_InitStruct.Mode = GPIO_MODE_INPUT;
  GPIO_InitStruct.Pull = GPIO_NOPULL;
  HAL_GPIO_Init(KL4_GPIO_Port, &GPIO_InitStruct);

  /*Configure GPIO pin : EN485_Pin */
  GPIO_InitStruct.Pin = EN485_Pin;
  GPIO_InitStruct.Mode = GPIO_MODE_OUTPUT_PP;
  GPIO_InitStruct.Pull = GPIO_NOPULL;
  GPIO_InitStruct.Speed = GPIO_SPEED_FREQ_LOW;
  HAL_GPIO_Init(EN485_GPIO_Port, &GPIO_InitStruct);

}

void StartDefaultTask(void *argument)
{
  /* USER CODE BEGIN 5 */
vMenuInit();
  /* Infinite loop */
  for(;;)
  {
#ifdef  WDT_ENABEL
	HAL_IWDG_Refresh(&hiwdg);
#endif
    osDelay(10);
  }
  /* USER CODE END 5 */
}

void HAL_TIM_PeriodElapsedCallback(TIM_HandleTypeDef *htim)
{
  /* USER CODE BEGIN Callback 0 */
   if (htim->Instance == TIM2)
   {
			 rvvTIMERExpiredISR();
  }
  /* USER CODE END Callback 0 */
  if (htim->Instance == TIM1) {
    HAL_IncTick();
  }
}

void Error_Handler(void)
{
  __disable_irq();
  while (1)
  {
  }
}
